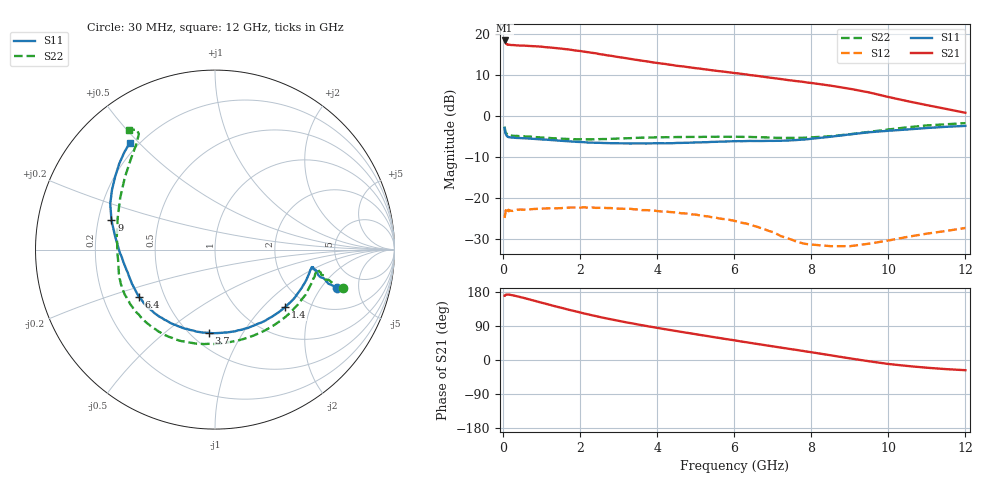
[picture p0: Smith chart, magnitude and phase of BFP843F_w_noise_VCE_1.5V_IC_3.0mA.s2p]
! Infineon Technologies  Discrete & RF Semiconductors
! BFP843F
! VCE =  1.5 V,  IC =  3.0 mA
! Common Emitter S-Parameters:  Aug 2013
# GHz  S  MA  R  50
!  f  S11  S21  S12  S22
! GHz  MAG  ANG  MAG  ANG  MAG  ANG  MAG  ANG
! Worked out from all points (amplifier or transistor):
!   103 points, 30 MHz to 12 GHz, reference 50 ohm
!   highest |S21| = 18.4 dB at 30 MHz (marker M1)
!   |S21| within 3 dB of that: start of sweep to 2.295 GHz
!   unconditionally stable (mu >= 1): 174.2 MHz to 595.4 MHz; 4.295 GHz to end of sweep
!   at 400 MHz: K = 1.00, MAG = 19.6 dB, |S12| = -22.8 dB
!   at 3.7 GHz: K = 0.95, MSG = 18.1 dB, |S12| = -22.9 dB
!   at 12 GHz: K = 1.63, MAG = 9.4 dB, |S12| = -27.2 dB
!   lowest NFmin = 0.93 dB at 450 MHz
!   S11 on the Smith chart (normalised r, x): 30 MHz: 3.35, -2.90; 1.4 GHz: 1.57, -1.35; 3.7 GHz: 0.61, -0.72; 6.4 GHz: 0.36, -0.25; 9 GHz: 0.25, +0.13; 12 GHz: 0.17, +0.47
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0.03  0.7142 -17.3  8.352 169.5  0.0576 34.4  0.7475 -16.8
0.04  0.6592 -16.7  8.04 169.7  0.0623 29.7  0.6908 -16.2
0.05  0.6284 -14.8  7.791 171.6  0.0648 28.2  0.6577 -15.0
0.07  0.5902 -13.7  7.603 172.2  0.068 21.2  0.6244 -13.3
0.15  0.5546 -10.3  7.408 172.6  0.0717 9.4  0.5832 -11.1
0.8  0.5285 -23.5  7.1 156.5  0.0741 0.5  0.557 -30.2
1.4  0.5055 -39.4  6.719 140.3  0.0756 -3.4  0.5345 -51.6
1.7  0.4934 -47.3  6.49 132.5  0.077 -5.6  0.5265 -62.2
2.1  0.4817 -57.5  6.098 122.7  0.0778 -8.4  0.5226 -76.1
2.4  0.4736 -65.0  5.828 115.8  0.0764 -10.7  0.5231 -85.7
2.8  0.4679 -74.2  5.428 107.3  0.076 -13.9  0.5296 -96.4
3.7  0.4648 -94.3  4.666 90.0  0.0717 -20.6  0.5468 -115.9
4.1  0.4685 -102.8  4.372 83.0  0.0691 -23.5  0.5527 -123.0
5.1  0.4786 -123.9  3.794 66.3  0.0619 -30.1  0.5575 -139.5
6.1  0.4963 -143.1  3.318 50.2  0.0514 -36.8  0.5606 -155.2
6.4  0.499 -148.3  3.165 45.4  0.0479 -38.6  0.5585 -160.0
7.3  0.5026 -165.1  2.793 31.3  0.0335 -37.6  0.5429 -174.3
8.5  0.5617 172.4  2.352 12.4  0.0261 -11.6  0.5701 162.0
9  0.5994 164.2  2.154 4.3  0.0261 -1.1  0.6024 151.2
10  0.6638 149.8  1.711 -10.5  0.0306 14.7  0.688 133.0
10.5  0.6887 143.9  1.522 -15.8  0.0339 18.5  0.7323 126.8
12  0.761 128.5  1.099 -26.9  0.0435 27.5  0.8224 125.6
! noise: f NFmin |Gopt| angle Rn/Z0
0.45  0.93  0.25  10  0.08
0.9  0.95  0.25  20  0.09
1.5  1.04  0.25  27  0.09
1.9  1.09  0.24  40  0.09
2.4  1.14  0.23  53  0.1
3.5  1.23  0.24  79  0.17
5.5  1.35  0.23  133  0.27
10  2.24  0.43  -133  0.29
